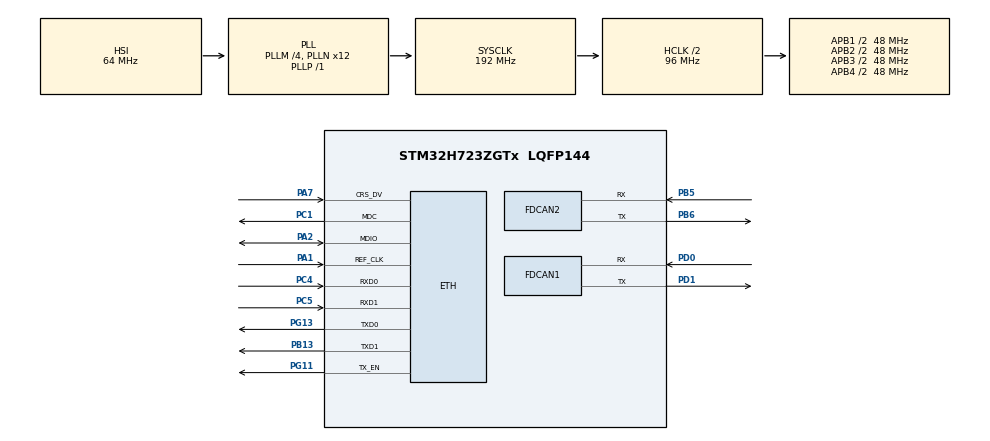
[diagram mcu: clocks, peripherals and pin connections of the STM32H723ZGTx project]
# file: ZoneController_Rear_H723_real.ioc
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CORTEX_M7.default_mode_Activation=1
ETH.MediaInterface=HAL_ETH_RMII_MODE
FDCAN1.AutoRetransmission=ENABLE
FDCAN1.CalculateBaudRateNominal=500000
FDCAN1.CalculateTimeBitNominal=2000
FDCAN1.CalculateTimeQuantumNominal=125.0
FDCAN1.DataPrescaler=10
FDCAN1.DataSyncJumpWidth=2
FDCAN1.DataTimeSeg1=13
FDCAN1.DataTimeSeg2=2
FDCAN1.Mode=FDCAN_MODE_NORMAL
FDCAN1.NominalPrescaler=6
FDCAN1.NominalSyncJumpWidth=2
FDCAN1.NominalTimeSeg1=13
FDCAN1.NominalTimeSeg2=2
FDCAN1.RxFifo0ElmtsNbr=8
FDCAN1.StdFiltersNbr=1
FDCAN1.TxFifoQueueElmtsNbr=8
FDCAN2.AutoRetransmission=ENABLE
FDCAN2.CalculateBaudRateNominal=250000
FDCAN2.CalculateTimeBitNominal=4000
FDCAN2.CalculateTimeQuantumNominal=250.0
FDCAN2.DataTimeSeg1=1
FDCAN2.MessageRAMOffset=128
FDCAN2.Mode=FDCAN_MODE_NORMAL
FDCAN2.NominalPrescaler=12
FDCAN2.NominalSyncJumpWidth=2
FDCAN2.NominalTimeSeg1=13
FDCAN2.NominalTimeSeg2=2
FDCAN2.RxFifo0ElmtsNbr=8
FDCAN2.StdFiltersNbr=2
FDCAN2.TxFifoQueueElmtsNbr=8
LWIP.BSP.number=1
LWIP.GATEWAY_ADDRESS=172.030.001.254
LWIP.IP_ADDRESS=172.030.001.200
LWIP.LWIP_DHCP=0
LWIP.NETMASK_ADDRESS=255.255.255.000
LWIP.Version=v2.2.1_Cube
LWIP0.BSP.STBoard=false
LWIP0.BSP.api=BSP_COMPONENT_DRIVER
LWIP0.BSP.component=LAN8742
LWIP0.BSP.instance=LAN8742
LWIP0.BSP.name=Driver_PHY
LWIP0.BSP.semaphore=S_LAN8742
LWIP0.BSP.solution=LAN8742
Mcu.Family=STM32H7
Mcu.Name=STM32H723ZGTx
Mcu.Package=LQFP144
NVIC.FDCAN1_IT0_IRQn=true\:0\:0\:false\:false\:true\:true\:true\:true
NVIC.FDCAN2_IT0_IRQn=true\:0\:0\:false\:false\:true\:true\:true\:true
NVIC.PriorityGroup=NVIC_PRIORITYGROUP_4
PA1.Mode=RMII
PA1.Signal=ETH_REF_CLK
PA13(JTMS/SWDIO).GPIO_Label=SWDIO
PA13(JTMS/SWDIO).Signal=DEBUG_JTMS-SWDIO
PA14(JTCK/SWCLK).GPIO_Label=SWCLK
PA14(JTCK/SWCLK).Signal=DEBUG_JTCK-SWCLK
PA2.Mode=RMII
PA2.Signal=ETH_MDIO
PA7.Mode=RMII
PA7.Signal=ETH_CRS_DV
PB13.Mode=RMII
PB13.Signal=ETH_TXD1
PB5.Mode=FDCAN_Activate
PB5.Signal=FDCAN2_RX
PB6.Mode=FDCAN_Activate
PB6.Signal=FDCAN2_TX
PC1.Mode=RMII
PC1.Signal=ETH_MDC
PC14-OSC32_IN.Signal=RCC_OSC32_IN
PC15-OSC32_OUT.Signal=RCC_OSC32_OUT
PC4.Mode=RMII
PC4.Signal=ETH_RXD0
PC5.Mode=RMII
PC5.Signal=ETH_RXD1
PD0.Mode=FDCAN_Activate
PD0.Signal=FDCAN1_RX
PD1.Mode=FDCAN_Activate
PD1.Signal=FDCAN1_TX
PD8.GPIO_Label=STLK_VCP_RX
PD8.Signal=USART3_TX
PD9.GPIO_Label=STLK_VCP_TX
PD9.Signal=USART3_RX
PG11.Mode=RMII
PG11.Signal=ETH_TX_EN
PG13.Mode=RMII
PG13.Signal=ETH_TXD0
ProjectManager.HeapSize=0x200
ProjectManager.StackSize=0x400
ProjectManager.TargetToolchain=STM32CubeIDE
RCC.ADCFreq_Value=608000000
RCC.APB1Freq_Value=48000000
RCC.APB2Freq_Value=48000000
RCC.APB3Freq_Value=48000000
RCC.APB4Freq_Value=48000000
RCC.CortexFreq_Value=192000000
RCC.D1PPRE=RCC_APB3_DIV2
RCC.D2PPRE1=RCC_APB1_DIV2
RCC.D2PPRE2=RCC_APB2_DIV2
RCC.D3PPRE=RCC_APB4_DIV2
RCC.DIVM1=4
RCC.DIVM2=1
RCC.DIVN1=12
RCC.DIVN2=19
RCC.DIVP1=1
RCC.DIVQ1=4
RCC.HCLKFreq_Value=96000000
RCC.HPRE=RCC_HCLK_DIV2
RCC.HSE_VALUE=8000000
RCC.PLLFRACN=0
RCC.SYSCLKFreq_VALUE=192000000
RCC.SYSCLKSource=RCC_SYSCLKSOURCE_PLLCLK
RCC.USBCLockSelection=RCC_USBCLKSOURCE_HSI48
RCC.USBFreq_Value=48000000
VP_LWIP_VS_Enabled.Mode=Enabled
VP_MEMORYMAP_VS_MEMORYMAP.Mode=CurAppReg
board=NUCLEO-H723ZG

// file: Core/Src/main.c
/* USER CODE BEGIN Header */
/**
  ******************************************************************************
  * @file           : main.c
  * @brief          : Main program body
  ******************************************************************************
  * @attention
  *
  * Copyright (c) 2026 STMicroelectronics.
  * All rights reserved.
  *
  * This software is licensed under terms that can be found in the LICENSE file
  * in the root directory of this software component.
  * If no LICENSE file comes with this software, it is provided AS-IS.
  *
  ******************************************************************************
  */
/* USER CODE END Header */
#include "main.h"
#include "fdcan.h"
#include "lwip.h"
#include "gpio.h"

/* USER CODE BEGIN Includes */
#include "rear_zone_network.h"
#include "rear_telemetry.h"
#include "perf.h"
#include "diagnostic.h"
#include "eth_phy_recover.h"

/* 계측/진단 마스터 스위치 (Front 와 동일) */
#define REAR_INSTRUMENT_ENABLE   1
/* USER CODE END Includes */

/* USER CODE BEGIN PV */

/* -------------------------------------------------------------------------- */
/* FDCAN1: Classical CAN 500 kbps                                              */
/* H723 -> F446/PCAN: ID 0x101                                                 */
/* F446 echo response expected: ID 0x181                                       */
/* -------------------------------------------------------------------------- */
static FDCAN_TxHeaderTypeDef can500_tx_header;
static FDCAN_RxHeaderTypeDef can500_rx_header;
static uint8_t can500_tx_data[8];
static uint8_t can500_rx_data[8];

volatile uint32_t can500_next_counter = 0;
volatile uint32_t can500_last_sent_counter = 0;
volatile uint32_t can500_last_received_counter = 0;

volatile uint32_t can500_tx_count = 0;
volatile uint32_t can500_rx_count = 0;
/* CAN 수신 두절 판정용 — 버스오프만으로는 상대 노드 소실을 못 잡는다. */
volatile uint32_t can500_last_rx_tick = 0U;
volatile uint32_t can250_last_rx_tick = 0U;
volatile uint32_t can500_rx_ok_count = 0;
volatile uint32_t can500_rx_bad_count = 0;
volatile uint32_t can500_tx_busy_count = 0;
volatile uint32_t can500_tx_error_count = 0;
volatile uint32_t can500_last_error = 0;
volatile uint32_t can500_tx_fifo_free = 0;

volatile FDCAN_ErrorCountersTypeDef can500_error_counters;
volatile FDCAN_ProtocolStatusTypeDef can500_protocol_status;

static uint32_t can500_last_tx_tick = 0;

/* -------------------------------------------------------------------------- */
/* FDCAN2: Classical CAN 250 kbps                                              */
/* H723 -> F407/PCAN: ID 0x201                                                 */
/* F407 echo response expected: ID 0x281                                       */
/* -------------------------------------------------------------------------- */
static FDCAN_TxHeaderTypeDef can250_tx_header;
static FDCAN_RxHeaderTypeDef can250_rx_header;
static uint8_t can250_tx_data[8];
static uint8_t can250_rx_data[8];

volatile uint32_t can250_next_counter = 0;
volatile uint32_t can250_last_sent_counter = 0;
volatile uint32_t can250_last_received_counter = 0;

volatile uint32_t can250_tx_count = 0;
volatile uint32_t can250_rx_count = 0;
volatile uint32_t can250_rx_ok_count = 0;
volatile uint32_t can250_rx_bad_count = 0;
volatile uint32_t can250_tx_busy_count = 0;
volatile uint32_t can250_tx_error_count = 0;
volatile uint32_t can250_last_error = 0;
volatile uint32_t can250_tx_fifo_free = 0;

volatile FDCAN_ErrorCountersTypeDef can250_error_counters;
volatile FDCAN_ProtocolStatusTypeDef can250_protocol_status;

static uint32_t can250_last_tx_tick = 0;

/* -------------------------------------------------------------------------- */
/* F446RE -> H723 센서 값 (FDCAN2 250 kbps, ID 0x301 / 0x311 / 0x312)          */
/* -------------------------------------------------------------------------- */
volatile uint8_t  f446_imu_data[8] = {0};   /* BNO085 rotation vector 원본 */
volatile uint8_t  f446_switch_pressed = 0;  /* 0 = 안눌림, 1 = 눌림        */
volatile uint16_t f446_ultrasonic_mm = 0;   /* 초음파 거리 (mm)            */

volatile uint32_t f446_imu_rx_count = 0;
volatile uint32_t f446_switch_rx_count = 0;
volatile uint32_t f446_ultrasonic_rx_count = 0;

/* 신선도(1초) 판정용 마지막 수신 시각 */
volatile uint32_t f446_imu_last_tick = 0;
volatile uint32_t f446_switch_last_tick = 0;
volatile uint32_t f446_ultrasonic_last_tick = 0;

/* -------------------------------------------------------------------------- */
/* H723 -> F446RE LED command over FDCAN2                                      */
/* Standard ID 0x310                                                          */
/* DATA[0] = left command, DATA[1] = right command, DATA[2] = brake command    */
/* -------------------------------------------------------------------------- */
static FDCAN_TxHeaderTypeDef led_cmd_tx_header;
static uint8_t led_cmd_tx_data[8];

static FDCAN_TxHeaderTypeDef window_cmd_tx_header;
static uint8_t window_cmd_tx_data[8];

volatile uint8_t led_auto_test_enable = 0U;
volatile uint8_t led_test_step = 0U;
volatile uint8_t led_left_command = 0U;
volatile uint8_t led_right_command = 0U;
volatile uint8_t led_brake_command = 0U;
volatile uint8_t window_command = 0U;

volatile uint32_t led_cmd_tx_count = 0U;
volatile uint32_t led_cmd_tx_busy_count = 0U;
volatile uint32_t led_cmd_tx_error_count = 0U;
volatile uint32_t led_cmd_last_error = 0U;

volatile uint32_t window_cmd_tx_count = 0U;
volatile uint32_t window_cmd_tx_busy_count = 0U;
volatile uint32_t window_cmd_tx_error_count = 0U;
volatile uint32_t window_cmd_last_error = 0U;

/* ---------------------------------------------------------------- */
/* 지연 계측 - Front 와 동일 방법론                                   */
/*                                                                    */
/*   perf_rear_cmd_latency     : 지령 변화 -> 하행 CAN 송신           */
/*   perf_rear_reflect_latency : 지령 변화 -> SR 텔레메트리 송신      */
/*                                                                    */
/* Rear 는 RearBody 로부터 출력 상태 피드백이 없어 텔레메트리가       */
/* 지령 자체를 싣는다. 따라서 두 경로를 각각 잰다.                    */
/* ---------------------------------------------------------------- */
volatile perf_stat_t perf_rear_cmd_latency     = { 0U, UINT32_MAX, 0U, 0U, 0U, 0U };
volatile perf_stat_t perf_rear_reflect_latency = { 0U, UINT32_MAX, 0U, 0U, 0U, 0U };

/* 지령 4종(좌/우/브레이크/윈도우)을 한 워드로 묶어 변화를 판정한다. */
static uint32_t rear_cmd_word_prev  = 0xFFFFFFFFU;  /* CAN 송신 기준 */
static uint32_t rear_cmd_word_tele  = 0xFFFFFFFFU;  /* 텔레메트리 기준 */
static uint32_t rear_cmd_cycle      = 0U;
static uint32_t rear_tele_cycle     = 0U;
static uint8_t  rear_cmd_pending    = 0U;
static uint8_t  rear_tele_pending   = 0U;
static uint8_t  rear_cmd_primed     = 0U;
static uint8_t  rear_tele_primed    = 0U;

static uint32_t Rear_CommandWord(void)
{
    return ((uint32_t)(led_left_command  ? 1U : 0U)      ) |
           ((uint32_t)(led_right_command ? 1U : 0U) <<  8) |
           ((uint32_t)(led_brake_command ? 1U : 0U) << 16) |
           ((uint32_t)(window_command    ? 1U : 0U) << 24);
}
static uint32_t led_cmd_last_tx_tick = 0U;
static uint32_t led_test_last_step_tick = 0U;
static uint32_t window_cmd_last_tx_tick = 0U;

/* USER CODE END PV */

void SystemClock_Config(void);
static void MPU_Config(void);
/* USER CODE BEGIN PFP */
static void CAN500_Start(void);
static void CAN500_SendPing(void);

static void CAN250_Start(void);
static void CAN250_SendPing(void);

static void LED_CommandSetStep(uint8_t step);
static void LED_CommandSend(void);
static void LED_CommandUpdate(void);

static void Window_CommandSend(void);
static void Window_CommandUpdate(void);
static void UDP_ApplyPendingCommand(void);

static void CAN_UpdateDiagnostics(void);
static void CAN_BusOffRecover(uint32_t now);
static uint8_t CAN_LinkDead(uint32_t now, uint8_t busoff,
                            uint32_t rx_count, uint32_t last_rx_tick);

static void CAN_WriteU32LE(uint8_t *data, uint32_t value);
static uint32_t CAN_ReadU32LE(const uint8_t *data);
static void EthernetMPU_Config(void);
/* USER CODE END PFP */

/* USER CODE BEGIN 0 */

#define CAN500_TX_PERIOD_MS       500U
#define CAN250_TX_PERIOD_MS       500U
#define CAN_TX_PHASE_OFFSET_MS    250U

#define REAR_LEFT_LAMP_CMD_ID     0x320U
#define REAR_RIGHT_LAMP_CMD_ID    0x321U
#define REAR_BRAKE_LAMP_CMD_ID    0x322U
#define WINDOW_CMD_ID             0x323U

/* F446RE -> H723 센서 신호 (FDCAN2 250 kbps) */
#define CAN_ID_F446_IMU           0x301U   /* DLC 8 : BNO085 rotation vector */
#define CAN_ID_F446_SWITCH        0x311U   /* DLC 1 : 토글스위치 0/1        */
#define CAN_ID_F446_ULTRASONIC    0x312U   /* DLC 2 : 거리 u16 LE (mm)      */

/* ------------------------------------------------------------------ */
/* 진단 (DTC) — Rear 존                                                */
/* confirm_ms 는 "정상 주기 x 3배 이상" 원칙 (COMM_ICD.md §4)          */
/* ------------------------------------------------------------------ */

enum {
    DTC_IDX_ZONE_LINK = 0,   /* Front <-> Rear 링크 상실   */
    DTC_IDX_HOST_LINK,       /* Jetson 명령 링크 상실      */
    DTC_IDX_CAN500_BUSOFF,   /* FDCAN1 버스오프            */
    DTC_IDX_CAN250_BUSOFF,   /* FDCAN2 버스오프            */
    DTC_IDX_ULTRA_LOST,      /* 초음파 0x312 무응답        */
    DTC_IDX_IMU_LOST,        /* IMU 0x301 무응답           */
    DTC_IDX_SWITCH_LOST,     /* 스위치 0x311 무응답        */
    DTC_IDX_COUNT
};

static const diag_def_t rear_dtc_defs[DTC_IDX_COUNT] = {
    /* code                        confirm  heal  warning */
    { DTC_U0100_ZONE_LINK_LOST,      1000U, 2000U, 1U },  /* 램프 제어 불능 */
    { DTC_U0300_HOST_LINK_LOST,      1500U, 3000U, 0U },
    { DTC_U0001_CAN500_BUSOFF,        500U, 3000U, 1U },
    { DTC_U0002_CAN250_BUSOFF,        500U, 3000U, 1U },  /* 램프 버스 */
    { DTC_P0500_ULTRASONIC_LOST,     2000U, 3000U, 1U },  /* 후방 감지 */
    { DTC_P0501_IMU_LOST,            5000U, 5000U, 0U },  /* 비주기 전송 */
    { DTC_P0502_SWITCH_LOST,         2000U, 3000U, 0U },
};

/*
 * 센서 무응답 판정 기준.
 *
 * 초음파 60 ms / 스위치 100 ms 는 주기적이라 1 s 면 충분하지만,
 * IMU(0x301)는 BNO085 리포트가 올 때만 전송되어 간격이 불규칙하다.
 * 1 s 로 두면 정상 동작 중에도 PENDING 이 떴다 사라지길 반복한다.
 * 실측 후 3 s 로 완화한다.
 */
#define REAR_SENSOR_LOST_MS   3000U
#define WINDOW_CMD_TX_PERIOD_MS   100U
/* 지령 변화 시 즉시 전송하되 이 간격보다 촘촘히는 보내지 않는다. */
#define REAR_CMD_MIN_GAP_MS        10U
/* 0 = 순수 주기 전송(개선 전, 비교 측정용) / 1 = 이벤트 트리거 */
#define REAR_EVENT_TRIGGER_ENABLE   1
#define LED_CMD_TX_PERIOD_MS      100U
#define LED_TEST_STEP_PERIOD_MS   3000U
#define LED_TEST_STEP_COUNT       5U

/**
 * @brief Ethernet DMA와 LwIP 메모리가 위치하는 RAM_D2 전체를
 *        Normal, Shareable, Non-cacheable 영역으로 설정한다.
 *
 * RAM_D2:
 *   0x30000000 ~ 0x30007FFF (32 KB)
 *
 * CubeMX가 생성한 MPU Region 0은 그대로 두고 Region 1만 추가한다.
 */
static void EthernetMPU_Config(void)
{
    MPU_Region_InitTypeDef MPU_InitStruct = {0};

    HAL_MPU_Disable();

    MPU_InitStruct.Enable = MPU_REGION_ENABLE;
    MPU_InitStruct.Number = MPU_REGION_NUMBER1;
    MPU_InitStruct.BaseAddress = 0x30000000U;
    MPU_InitStruct.Size = MPU_REGION_SIZE_32KB;
    MPU_InitStruct.SubRegionDisable = 0x00U;
    MPU_InitStruct.TypeExtField = MPU_TEX_LEVEL1;
    MPU_InitStruct.AccessPermission = MPU_REGION_FULL_ACCESS;
    MPU_InitStruct.DisableExec = MPU_INSTRUCTION_ACCESS_DISABLE;
    MPU_InitStruct.IsShareable = MPU_ACCESS_SHAREABLE;
    MPU_InitStruct.IsCacheable = MPU_ACCESS_NOT_CACHEABLE;
    MPU_InitStruct.IsBufferable = MPU_ACCESS_NOT_BUFFERABLE;

    HAL_MPU_ConfigRegion(&MPU_InitStruct);
    HAL_MPU_Enable(MPU_PRIVILEGED_DEFAULT);
}

/**
 * @brief uint32_t 값을 Little Endian 형식으로 4바이트에 저장
 */
static void CAN_WriteU32LE(uint8_t *data, uint32_t value)
{
    data[0] = (uint8_t)(value & 0xFFU);
    data[1] = (uint8_t)((value >> 8) & 0xFFU);
    data[2] = (uint8_t)((value >> 16) & 0xFFU);
    data[3] = (uint8_t)((value >> 24) & 0xFFU);
}

/**
 * @brief Little Endian 형식의 4바이트를 uint32_t로 변환
 */
static uint32_t CAN_ReadU32LE(const uint8_t *data)
{
    return ((uint32_t)data[0]) |
           ((uint32_t)data[1] << 8) |
           ((uint32_t)data[2] << 16) |
           ((uint32_t)data[3] << 24);
}

/**
 * @brief FDCAN1 Classical CAN 500 kbps 시작
 *
 * 송신:
 *   Standard ID 0x101
 *   A5 5A 01 01 + 32-bit counter
 *
 * 수신:
 *   Standard ID 0x181
 *   5A A5 01 02 + same counter
 */
static void CAN500_Start(void)
{
    FDCAN_FilterTypeDef filter = {0};

    filter.IdType = FDCAN_STANDARD_ID;
    filter.FilterIndex = 0;
    filter.FilterType = FDCAN_FILTER_MASK;
    filter.FilterConfig = FDCAN_FILTER_TO_RXFIFO0;
    filter.FilterID1 = 0x181;
    filter.FilterID2 = 0x7FF;

    if (HAL_FDCAN_ConfigFilter(&hfdcan1, &filter) != HAL_OK)
    {
        Error_Handler();
    }

    if (HAL_FDCAN_ConfigGlobalFilter(
            &hfdcan1,
            FDCAN_REJECT,
            FDCAN_REJECT,
            FDCAN_REJECT_REMOTE,
            FDCAN_REJECT_REMOTE) != HAL_OK)
    {
        Error_Handler();
    }

    if (HAL_FDCAN_ActivateNotification(
            &hfdcan1,
            FDCAN_IT_RX_FIFO0_NEW_MESSAGE,
            0U) != HAL_OK)
    {
        Error_Handler();
    }

    if (HAL_FDCAN_Start(&hfdcan1) != HAL_OK)
    {
        Error_Handler();
    }

    can500_tx_header.Identifier = 0x101;
    can500_tx_header.IdType = FDCAN_STANDARD_ID;
    can500_tx_header.TxFrameType = FDCAN_DATA_FRAME;
    can500_tx_header.DataLength = FDCAN_DLC_BYTES_8;
    can500_tx_header.ErrorStateIndicator = FDCAN_ESI_ACTIVE;
    can500_tx_header.BitRateSwitch = FDCAN_BRS_OFF;
    can500_tx_header.FDFormat = FDCAN_CLASSIC_CAN;
    can500_tx_header.TxEventFifoControl = FDCAN_NO_TX_EVENTS;
    can500_tx_header.MessageMarker = 0U;
}

/**
 * @brief FDCAN1 500 kbps Ping 송신
 */
static void CAN500_SendPing(void)
{
    uint32_t counter;

    can500_tx_fifo_free = HAL_FDCAN_GetTxFifoFreeLevel(&hfdcan1);

    if (can500_tx_fifo_free == 0U)
    {
        can500_tx_busy_count++;
        can500_last_error = HAL_FDCAN_GetError(&hfdcan1);
        return;
    }

    counter = can500_next_counter++;

    can500_tx_data[0] = 0xA5;
    can500_tx_data[1] = 0x5A;
    can500_tx_data[2] = 0x01;
    can500_tx_data[3] = 0x01;
    CAN_WriteU32LE(&can500_tx_data[4], counter);

    if (HAL_FDCAN_AddMessageToTxFifoQ(
            &hfdcan1,
            &can500_tx_header,
            can500_tx_data) == HAL_OK)
    {
        can500_last_sent_counter = counter;
        can500_tx_count++;
    }
    else
    {
        can500_tx_error_count++;
        can500_last_error = HAL_FDCAN_GetError(&hfdcan1);
    }
}

/**
 * @brief 프리즈 프레임 캡처 — 최초 DTC 확정 시점의 신호 스냅샷
 *
 * 슬롯 의미(Rear 존)는 COMM_ICD.md 에 정의.
 */
static void Rear_CaptureFreeze(uint16_t *sig)
{
    sig[0] = f446_ultrasonic_mm;
    sig[1] = (uint16_t)((uint16_t)f446_imu_data[0] |
                        ((uint16_t)f446_imu_data[1] << 8));
    sig[2] = (uint16_t)((uint16_t)f446_imu_data[2] |
                        ((uint16_t)f446_imu_data[3] << 8));
    sig[3] = rear_front_brake_adc;
    sig[4] = (uint16_t)((f446_switch_pressed ? 1U : 0U) |
                        (led_left_command  ? 2U : 0U) |
                        (led_right_command ? 4U : 0U) |
                        (led_brake_command ? 8U : 0U) |
                        (window_command    ? 16U : 0U));
    sig[5] = (uint16_t)((rear_front_link_alive     ? 1U : 0U) |
                        (rear_jetson_command_alive ? 2U : 0U) |
                        (can500_protocol_status.BusOff ? 4U : 0U) |
                        (can250_protocol_status.BusOff ? 8U : 0U));
    sig[6] = (uint16_t)(can500_rx_ok_count & 0xFFFFU);
    sig[7] = (uint16_t)(can250_rx_ok_count & 0xFFFFU);
}

/**
 * @brief 센서 무응답 판정
 *
 * last_tick 은 CAN ISR 이 갱신하고 now 는 메인 루프 시작에 캡처된다.
 * ISR 이 now 이후에 들어오면 last_tick > now 가 되어 부호 없는 뺄셈이
 * 언더플로우하고, 약 43억이 되어 오검출이 발생한다.
 * (증상: 정상 수신 중에도 PENDING 이 떴다 사라지길 반복)
 *
 * 부호 있는 비교로 "미래 시각 = 방금 수신" 을 걸러낸다.
 */
static uint8_t Rear_SensorLost(uint32_t last_tick, uint32_t now)
{
    if ((int32_t)(now - last_tick) < 0)
    {
        return 0U;   /* ISR 이 방금 갱신 — 정상 */
    }

    return ((uint32_t)(now - last_tick) > REAR_SENSOR_LOST_MS) ? 1U : 0U;
}

/**
 * @brief 원시 고장 여부를 진단 모듈에 보고 (관측만, 조치는 기존 로직)
 */
static void Rear_ReportDiagnostics(uint32_t now)
{
    Diag_Report(DTC_IDX_ZONE_LINK,
                (rear_front_link_alive == 0U) ? 1U : 0U, now);
    Diag_Report(DTC_IDX_HOST_LINK,
                (rear_jetson_command_alive == 0U) ? 1U : 0U, now);
    Diag_Report(DTC_IDX_CAN500_BUSOFF,
                CAN_LinkDead(now,
                             (uint8_t)(can500_protocol_status.BusOff != 0U),
                             can500_rx_count, can500_last_rx_tick), now);
    Diag_Report(DTC_IDX_CAN250_BUSOFF,
                CAN_LinkDead(now,
                             (uint8_t)(can250_protocol_status.BusOff != 0U),
                             can250_rx_count, can250_last_rx_tick), now);
    Diag_Report(DTC_IDX_ULTRA_LOST,
                Rear_SensorLost(f446_ultrasonic_last_tick, now), now);
    Diag_Report(DTC_IDX_IMU_LOST,
                Rear_SensorLost(f446_imu_last_tick, now), now);
    Diag_Report(DTC_IDX_SWITCH_LOST,
                Rear_SensorLost(f446_switch_last_tick, now), now);

    Diag_Process(now);
}

/**
 * @brief FDCAN2 Classical CAN 250 kbps 시작
 *
 * 송신:
 *   Standard ID 0x201
 *   A5 5A 02 01 + 32-bit counter
 *
 * 수신:
 *   Standard ID 0x281        핑 에코 응답
 *   5A A5 02 02 + same counter
 *
 *   Standard ID 0x301~0x312  F446RE 센서 신호
 *     0x301 IMU(BNO085) / 0x311 토글스위치 / 0x312 초음파 거리(mm)
 */
static void CAN250_Start(void)
{
    FDCAN_FilterTypeDef filter = {0};

    /* 필터0: 핑 에코 응답 0x281 단일 */
    filter.IdType = FDCAN_STANDARD_ID;
    filter.FilterIndex = 0;
    filter.FilterType = FDCAN_FILTER_MASK;
    filter.FilterConfig = FDCAN_FILTER_TO_RXFIFO0;
    filter.FilterID1 = 0x281;
    filter.FilterID2 = 0x7FF;

    if (HAL_FDCAN_ConfigFilter(&hfdcan2, &filter) != HAL_OK)
    {
        Error_Handler();
    }

    /*
     * 필터1: F446RE 센서 신호 0x301~0x312 범위.
     * 글로벌 필터가 REJECT이므로 이 필터가 없으면 IMU/스위치/초음파가
     * RxFIFO에 들어오지 못한다.
     */
    filter.FilterIndex = 1;
    filter.FilterType = FDCAN_FILTER_RANGE;
    filter.FilterConfig = FDCAN_FILTER_TO_RXFIFO0;
    filter.FilterID1 = CAN_ID_F446_IMU;
    filter.FilterID2 = CAN_ID_F446_ULTRASONIC;

    if (HAL_FDCAN_ConfigFilter(&hfdcan2, &filter) != HAL_OK)
    {
        Error_Handler();
    }

    if (HAL_FDCAN_ConfigGlobalFilter(
            &hfdcan2,
            FDCAN_REJECT,
            FDCAN_REJECT,
            FDCAN_REJECT_REMOTE,
            FDCAN_REJECT_REMOTE) != HAL_OK)
    {
        Error_Handler();
    }

    if (HAL_FDCAN_ActivateNotification(
            &hfdcan2,
            FDCAN_IT_RX_FIFO0_NEW_MESSAGE,
            0U) != HAL_OK)
    {
        Error_Handler();
    }

    if (HAL_FDCAN_Start(&hfdcan2) != HAL_OK)
    {
        Error_Handler();
    }

    can250_tx_header.Identifier = 0x201;
    can250_tx_header.IdType = FDCAN_STANDARD_ID;
    can250_tx_header.TxFrameType = FDCAN_DATA_FRAME;
    can250_tx_header.DataLength = FDCAN_DLC_BYTES_8;
    can250_tx_header.ErrorStateIndicator = FDCAN_ESI_ACTIVE;
    can250_tx_header.BitRateSwitch = FDCAN_BRS_OFF;
    can250_tx_header.FDFormat = FDCAN_CLASSIC_CAN;
    can250_tx_header.TxEventFifoControl = FDCAN_NO_TX_EVENTS;
    can250_tx_header.MessageMarker = 0U;

    /* H723 -> F446RE LED 명령 프레임 */
    led_cmd_tx_header.Identifier = REAR_LEFT_LAMP_CMD_ID;
    led_cmd_tx_header.IdType = FDCAN_STANDARD_ID;
    led_cmd_tx_header.TxFrameType = FDCAN_DATA_FRAME;
    led_cmd_tx_header.DataLength = FDCAN_DLC_BYTES_1;
    led_cmd_tx_header.ErrorStateIndicator = FDCAN_ESI_ACTIVE;
    led_cmd_tx_header.BitRateSwitch = FDCAN_BRS_OFF;
    led_cmd_tx_header.FDFormat = FDCAN_CLASSIC_CAN;
    led_cmd_tx_header.TxEventFifoControl = FDCAN_NO_TX_EVENTS;
    led_cmd_tx_header.MessageMarker = 0U;

    /* H723 -> window controller command frame */
    window_cmd_tx_header.Identifier = WINDOW_CMD_ID;
    window_cmd_tx_header.IdType = FDCAN_STANDARD_ID;
    window_cmd_tx_header.TxFrameType = FDCAN_DATA_FRAME;
    window_cmd_tx_header.DataLength = FDCAN_DLC_BYTES_1;
    window_cmd_tx_header.ErrorStateIndicator = FDCAN_ESI_ACTIVE;
    window_cmd_tx_header.BitRateSwitch = FDCAN_BRS_OFF;
    window_cmd_tx_header.FDFormat = FDCAN_CLASSIC_CAN;
    window_cmd_tx_header.TxEventFifoControl = FDCAN_NO_TX_EVENTS;
    window_cmd_tx_header.MessageMarker = 0U;
}

/**
 * @brief FDCAN2 250 kbps Ping 송신
 */
static void CAN250_SendPing(void)
{
    uint32_t counter;

    can250_tx_fifo_free = HAL_FDCAN_GetTxFifoFreeLevel(&hfdcan2);

    if (can250_tx_fifo_free == 0U)
    {
        can250_tx_busy_count++;
        can250_last_error = HAL_FDCAN_GetError(&hfdcan2);
        return;
    }

    counter = can250_next_counter++;

    can250_tx_data[0] = 0xA5;
    can250_tx_data[1] = 0x5A;
    can250_tx_data[2] = 0x02;
    can250_tx_data[3] = 0x01;
    CAN_WriteU32LE(&can250_tx_data[4], counter);

    if (HAL_FDCAN_AddMessageToTxFifoQ(
            &hfdcan2,
            &can250_tx_header,
            can250_tx_data) == HAL_OK)
    {
        can250_last_sent_counter = counter;
        can250_tx_count++;
    }
    else
    {
        can250_tx_error_count++;
        can250_last_error = HAL_FDCAN_GetError(&hfdcan2);
    }
}

/**
 * @brief 자동 LED 시험 단계에 맞춰 명령값 설정
 *
 * step 0: 모두 OFF
 * step 1: 왼쪽 방향지시등 활성화(F446RE에서 500 ms 점멸)
 * step 2: 오른쪽 방향지시등 활성화(F446RE에서 500 ms 점멸)
 * step 3: 브레이크등 ON
 * step 4: 왼쪽 + 오른쪽 + 브레이크 활성화
 */
static void LED_CommandSetStep(uint8_t step)
{
    led_test_step = (uint8_t)(step % LED_TEST_STEP_COUNT);

    switch (led_test_step)
    {
        case 0U:
            led_left_command = 0U;
            led_right_command = 0U;
            led_brake_command = 0U;
            break;

        case 1U:
            led_left_command = 1U;
            led_right_command = 0U;
            led_brake_command = 0U;
            break;

        case 2U:
            led_left_command = 0U;
            led_right_command = 1U;
            led_brake_command = 0U;
            break;

        case 3U:
            led_left_command = 0U;
            led_right_command = 0U;
            led_brake_command = 1U;
            break;

        default: /* step 4 */
            led_left_command = 1U;
            led_right_command = 1U;
            led_brake_command = 1U;
            break;
    }
}

/**
 * @brief LED 명령 0x310 송신
 *
 * byte 0: left  (0/1)
 * byte 1: right (0/1)
 * byte 2: brake (0/1)
 * byte 3: 현재 시험 step (디버깅용, F446RE에서는 무시)
 * byte 4~7: 0
 */
static void RearLamp_SendU8(uint32_t identifier, uint8_t value)
{
    uint8_t data[8] = {0U};

    if (HAL_FDCAN_GetTxFifoFreeLevel(&hfdcan2) == 0U)
    {
        led_cmd_tx_busy_count++;
        led_cmd_last_error = HAL_FDCAN_GetError(&hfdcan2);
        return;
    }

    led_cmd_tx_header.Identifier = identifier;
    led_cmd_tx_header.DataLength = FDCAN_DLC_BYTES_1;
    data[0] = (value != 0U) ? 1U : 0U;

    if (HAL_FDCAN_AddMessageToTxFifoQ(&hfdcan2, &led_cmd_tx_header, data) == HAL_OK)
    {
        led_cmd_tx_count++;
    }
    else
    {
        led_cmd_tx_error_count++;
        led_cmd_last_error = HAL_FDCAN_GetError(&hfdcan2);
    }
}

static void LED_CommandSend(void)
{
    RearLamp_SendU8(REAR_LEFT_LAMP_CMD_ID, led_left_command);
    RearLamp_SendU8(REAR_RIGHT_LAMP_CMD_ID, led_right_command);
    RearLamp_SendU8(REAR_BRAKE_LAMP_CMD_ID, led_brake_command);
}

/**
 * @brief LED 자동 시험 패턴 갱신 및 주기 송신
 *
 * led_auto_test_enable = 1: 3초마다 시험 단계 자동 변경
 * led_auto_test_enable = 0: Live Expressions에서 세 command 값을 수동 변경
 */
static void LED_CommandUpdate(void)
{
    uint32_t now = HAL_GetTick();

    if ((led_auto_test_enable != 0U) &&
        ((now - led_test_last_step_tick) >= LED_TEST_STEP_PERIOD_MS))
    {
        led_test_last_step_tick = now;
        LED_CommandSetStep((uint8_t)(led_test_step + 1U));
    }

    {
        uint32_t w = Rear_CommandWord();
        uint32_t age = (uint32_t)(now - led_cmd_last_tx_tick);
        uint8_t  due;

        if (w != rear_cmd_word_prev)
        {
            if (rear_cmd_primed != 0U)
            {
                if (rear_cmd_pending == 0U)
                {
                    rear_cmd_cycle = PERF_NOW();
                    rear_cmd_pending = 1U;
                }
            }
            rear_cmd_primed = 1U;
            /* 변화 시 즉시 전송하되 최소 간격은 지킨다. */
#if (REAR_EVENT_TRIGGER_ENABLE)
            due = (age >= REAR_CMD_MIN_GAP_MS) ? 1U : 0U;
#else
            due = (age >= LED_CMD_TX_PERIOD_MS) ? 1U : 0U;
#endif
        }
        else
        {
            due = (age >= LED_CMD_TX_PERIOD_MS) ? 1U : 0U;
        }

        if (due != 0U)
        {
            uint32_t changed = w ^ rear_cmd_word_prev;

            led_cmd_last_tx_tick = now;
            rear_cmd_word_prev = w;
            LED_CommandSend();

            /* 윈도우는 값이 실제로 바뀐 경우에만 여기서 앞당겨 보낸다.
               그 외에는 Window_CommandUpdate() 의 주기 하트비트에 맡겨
               두 경로에서 중복 송신되지 않게 한다. */
            if ((changed & 0xFF000000U) != 0U)
            {
                window_cmd_last_tx_tick = now;
                Window_CommandSend();
            }

            if (rear_cmd_pending != 0U)
            {
                Perf_Update(&perf_rear_cmd_latency, PERF_ELAPSED(rear_cmd_cycle));
                rear_cmd_pending = 0U;
            }
        }
    }
}

/**
 * @brief Window command 0x311 transmission.
 *
 * DATA[0] = window command (0=OFF, 1=ON)
 * DATA[1..7] = 0
 */
static void Window_CommandSend(void)
{
    window_cmd_tx_data[0] = (window_command != 0U) ? 1U : 0U;
    window_cmd_tx_data[1] = 0U;
    window_cmd_tx_data[2] = 0U;
    window_cmd_tx_data[3] = 0U;
    window_cmd_tx_data[4] = 0U;
    window_cmd_tx_data[5] = 0U;
    window_cmd_tx_data[6] = 0U;
    window_cmd_tx_data[7] = 0U;

    if (HAL_FDCAN_GetTxFifoFreeLevel(&hfdcan2) == 0U)
    {
        window_cmd_tx_busy_count++;
        window_cmd_last_error = HAL_FDCAN_GetError(&hfdcan2);
        return;
    }

    if (HAL_FDCAN_AddMessageToTxFifoQ(
            &hfdcan2,
            &window_cmd_tx_header,
            window_cmd_tx_data) == HAL_OK)
    {
        window_cmd_tx_count++;
    }
    else
    {
        window_cmd_tx_error_count++;
        window_cmd_last_error = HAL_FDCAN_GetError(&hfdcan2);
    }
}

/**
 * @brief Periodically repeat the current window command.
 */
static void Window_CommandUpdate(void)
{
    uint32_t now = HAL_GetTick();

    /* 윈도우 지령은 LED_CommandUpdate() 에서 지령 워드와 함께 나간다.
       여기서는 값이 안 바뀌어도 살아있음을 알리는 하트비트만 담당한다. */
    if ((now - window_cmd_last_tx_tick) >= WINDOW_CMD_TX_PERIOD_MS)
    {
        window_cmd_last_tx_tick = now;
        Window_CommandSend();
    }
}

/**
 * @brief Apply one pending 4-byte UDP command to the CAN actuator commands.
 */
static void UDP_ApplyPendingCommand(void)
{
    RearZoneNetwork_Process(HAL_GetTick());
}

/**
 * @brief 두 FDCAN 인스턴스의 하드웨어 상태를 디버거용 변수에 갱신
 */
/**
 * @brief 버스오프 자동 복구
 *
 * FDCAN 은 버스오프에 빠지면 하드웨어가 CCCR.INIT 를 세우고 그대로 멈춘다.
 * 소프트웨어가 INIT 를 내려줘야 표준 복구 시퀀스(129 x 11 recessive bit)가
 * 시작된다. 내려주지 않으면 상대 노드가 살아 돌아와도 링크는 영구히 죽는다.
 *
 * 실제로 RearBody 가 리셋 고착에서 복귀했는데도 500k 링크가 살아나지
 * 않는 것을 계측으로 확인하고 추가했다. 진단(U0001)은 정상 동작했으나
 * 복구 경로가 없었다.
 *
 * 재시도 간격을 두는 이유는, 배선이 끊긴 채로 두면 복구 -> 즉시 버스오프를
 * 반복하며 버스를 흔들기 때문이다.
 */
#define CAN_BUSOFF_RECOVER_MS   1000U

volatile uint32_t can500_busoff_recover_count = 0U;
volatile uint32_t can250_busoff_recover_count = 0U;

/*
 * 링크 사망 판정 — 버스오프만 보면 안 된다.
 *
 * CAN 규격상 '에러 패시브 송신기가 ACK 오류를 검출했고 그동안 dominant 비트를
 * 보지 못했다면 TEC 를 올리지 않는다'. 그래서 상대 노드가 그냥 사라지면
 * TEC 가 128(에러 패시브 문턱)에 멈추고 버스오프(TEC>255)에 영원히 도달하지
 * 않는다. 실측으로 확인: TxErrorCnt=128, ErrorPassive=1, BusOff=0 인 채로
 * 링크가 완전히 죽어 있었고 DTC 는 정상으로 보고했다.
 *
 * 그래서 '수신 두절'을 함께 본다. 이더넷 링크(U0100/U0300)가 이미 쓰는
 * 판정 방식과 같다.
 */
#define CAN_RX_TIMEOUT_MS       2000U   /* 핑 주기 500 ms 의 4배 */
#define CAN_STARTUP_GRACE_MS    3000U   /* 기동 직후 유예 */

static uint8_t CAN_LinkDead(uint32_t now, uint8_t busoff,
                            uint32_t rx_count, uint32_t last_rx_tick)
{
    if (busoff != 0U)
    {
        return 1U;
    }
    if (rx_count == 0U)
    {
        /* 부팅 후 한 번도 못 받았다 - 유예시간이 지나면 고장 */
        return (now > CAN_STARTUP_GRACE_MS) ? 1U : 0U;
    }
    if ((int32_t)(now - last_rx_tick) < 0)
    {
        return 0U;   /* ISR 이 방금 갱신 */
    }
    return ((uint32_t)(now - last_rx_tick) > CAN_RX_TIMEOUT_MS) ? 1U : 0U;
}
static void CAN_BusOffRecover(uint32_t now)
{
    static uint32_t can500_last_try = 0U;
    static uint32_t can250_last_try = 0U;

    if (can500_protocol_status.BusOff != 0U)
    {
        if ((uint32_t)(now - can500_last_try) >= CAN_BUSOFF_RECOVER_MS)
        {
            can500_last_try = now;
            CLEAR_BIT(hfdcan1.Instance->CCCR, FDCAN_CCCR_INIT);
            can500_busoff_recover_count++;
        }
    }

    if (can250_protocol_status.BusOff != 0U)
    {
        if ((uint32_t)(now - can250_last_try) >= CAN_BUSOFF_RECOVER_MS)
        {
            can250_last_try = now;
            CLEAR_BIT(hfdcan2.Instance->CCCR, FDCAN_CCCR_INIT);
            can250_busoff_recover_count++;
        }
    }
}
static void CAN_UpdateDiagnostics(void)
{
    can500_tx_fifo_free = HAL_FDCAN_GetTxFifoFreeLevel(&hfdcan1);
    can250_tx_fifo_free = HAL_FDCAN_GetTxFifoFreeLevel(&hfdcan2);

    if (HAL_FDCAN_GetErrorCounters(
            &hfdcan1,
            (FDCAN_ErrorCountersTypeDef *)&can500_error_counters) != HAL_OK)
    {
        can500_last_error = HAL_FDCAN_GetError(&hfdcan1);
    }

    if (HAL_FDCAN_GetProtocolStatus(
            &hfdcan1,
            (FDCAN_ProtocolStatusTypeDef *)&can500_protocol_status) != HAL_OK)
    {
        can500_last_error = HAL_FDCAN_GetError(&hfdcan1);
    }

    if (HAL_FDCAN_GetErrorCounters(
            &hfdcan2,
            (FDCAN_ErrorCountersTypeDef *)&can250_error_counters) != HAL_OK)
    {
        can250_last_error = HAL_FDCAN_GetError(&hfdcan2);
    }

    if (HAL_FDCAN_GetProtocolStatus(
            &hfdcan2,
            (FDCAN_ProtocolStatusTypeDef *)&can250_protocol_status) != HAL_OK)
    {
        can250_last_error = HAL_FDCAN_GetError(&hfdcan2);
    }
}

/* USER CODE END 0 */

int main(void)
{

  /* USER CODE BEGIN 1 */

  /*
   * Cortex-M7 D-Cache 전체 무효화 — 다른 어떤 초기화보다 먼저.
   *
   * 파워온 리셋 직후 캐시 RAM 에는 임의의 노이즈가 남아 있다.
   * Cortex-M7 캐시는 ECC 를 갖고 있어서, "전체 무효화"가 아닌
   * 범위 지정 연산(SCB_InvalidateDCache_by_Addr 등)을 수행하면
   * 노이즈가 든 라인에서 ECC 오류가 발생하고 BusFault/HardFault
   * (IMPRECISERR) 로 전파된다.
   *
   * 이더넷 수신 경로의 HAL_ETH_RxLinkCallback() 이 매 프레임마다
   * SCB_InvalidateDCache_by_Addr() 를 호출하므로 정확히 이 경로에
   * 걸린다. 리셋 버튼으로는 캐시가 정리되어 증상이 안 나타나고,
   * 전원 인가 시에만 재현되는 이유이기도 하다.
   *
   * 참고: ST 커뮤니티 — STM32H743 Using Ethernet Without Cache Issue
   */
  SCB_InvalidateDCache();

  /* USER CODE END 1 */

  /* MPU Configuration--------------------------------------------------------*/
  MPU_Config();

  /* MCU Configuration--------------------------------------------------------*/

  /* Reset of all peripherals, Initializes the Flash interface and the Systick. */
  HAL_Init();

  /* USER CODE BEGIN Init */

  /*
   * D2 도메인 SRAM 클럭 활성화 — 이더넷보다 먼저 해야 한다.
   *
   * 이더넷 DMA 디스크립터(0x30000000), RX 버퍼 풀(0x30000100),
   * lwIP 힙(0x30005000)이 전부 D2 SRAM 에 있는데, 이 클럭은
   * 리셋 후 기본으로 꺼져 있다.
   *
   * CMSIS 의 SystemInit() 에도 활성화 코드가 있지만
   * #if defined(DATA_IN_D2_SRAM) 으로 감싸여 있고 이 프로젝트는
   * 그 매크로를 정의하지 않으므로 실행되지 않는다.
   */
  __HAL_RCC_D2SRAM1_CLK_ENABLE();
  __HAL_RCC_D2SRAM2_CLK_ENABLE();
#if defined(RCC_AHB2ENR_D2SRAM3EN)
  __HAL_RCC_D2SRAM3_CLK_ENABLE();
#endif

  EthernetMPU_Config();
  /* USER CODE END Init */

  /* Configure the system clock */
  SystemClock_Config();

  /* Initialize all configured peripherals */
  MX_GPIO_Init();
  MX_FDCAN1_Init();
  MX_FDCAN2_Init();

  /* USER CODE BEGIN PHY_SETTLE */
  /*
   * PHY 안정화 지연 — 원인 격리를 위해 현재 비활성.
   * 필요 시 아래 주석을 풀어 사용한다.
   */
  /*
   * LAN8742 는 전원 인가 후 MDIO 응답까지 시간이 필요하다.
   * 데이터시트 기준 최소 약 26 ms 이나, ST 커뮤니티 다수 사례에서
   * 500 ms~2 s 가 필요했다. 리셋 버튼은 VDD 가 이미 안정된 상태라
   * 문제가 없지만, 전원 인가 경로에서는 이 지연이 없으면
   * PHY 열거(LAN8742_Init) 가 실패한다.
   */
  HAL_Delay(500U);
  /* USER CODE END PHY_SETTLE */

  MX_LWIP_Init();
  /* USER CODE BEGIN 2 */

  /* Jetson command server (5001) + Front/Rear inter-zone server (5003). */
  if (RearZoneNetwork_Init() != ERR_OK)
  {
      Error_Handler();
  }

  /* Telemetry stream toward the Jetson (/dev/rear_status). */
  if (RearTelemetry_Init() != ERR_OK)
  {
      Error_Handler();
  }

#if (REAR_INSTRUMENT_ENABLE)
  Perf_Init();
  Diag_Init(rear_dtc_defs, DTC_IDX_COUNT, 'R', Rear_CaptureFreeze);
#endif

  CAN500_Start();
  CAN250_Start();
  {
      uint32_t start_tick = HAL_GetTick();

      /*
       * 두 버스 모두 500 ms 주기이지만 250 ms 위상차를 둔다.
       * 동시에 실행해도 문제는 없지만 PCAN에서 구분하기 쉽게 하기 위함이다.
       */
      can500_last_tx_tick = start_tick;
      can250_last_tx_tick = start_tick - CAN_TX_PHASE_OFFSET_MS;

      /* Start all actuators in the OFF state. */
      LED_CommandSetStep(0U);
      window_command = 0U;

      led_test_last_step_tick = start_tick;
      led_cmd_last_tx_tick = start_tick - LED_CMD_TX_PERIOD_MS;
      window_cmd_last_tx_tick = start_tick - WINDOW_CMD_TX_PERIOD_MS;
  }

  /* USER CODE END 2 */

  /* Infinite loop */
  /* USER CODE BEGIN WHILE */
  while (1)
  {
      uint32_t now = HAL_GetTick();

      CAN_UpdateDiagnostics();
      CAN_BusOffRecover(now);

      if ((now - can500_last_tx_tick) >= CAN500_TX_PERIOD_MS)
      {
          can500_last_tx_tick = now;
          CAN500_SendPing();
      }

      if ((now - can250_last_tx_tick) >= CAN250_TX_PERIOD_MS)
      {
          can250_last_tx_tick = now;
          CAN250_SendPing();
      }

#if (REAR_INSTRUMENT_ENABLE)
      {
          static uint32_t loop_prev_cyc = 0U;
          uint32_t cyc_now = PERF_NOW();

          if (loop_prev_cyc != 0U)
          {
              Perf_Update(&perf_loop_period, cyc_now - loop_prev_cyc);
          }
          loop_prev_cyc = cyc_now;
      }
      /* Standalone(NO_SYS=1) LwIP packet, timeout, link processing */
      {
          uint32_t t0 = PERF_NOW();
          MX_LWIP_Process();
          Perf_Update(&perf_lwip_process, PERF_ELAPSED(t0));
      }
#else
      /* Standalone(NO_SYS=1) LwIP packet, timeout, link processing */
      MX_LWIP_Process();
#endif

      /* Apply a newly received Jetson command, if any. */
      UDP_ApplyPendingCommand();

      /* Repeat the latest actuator states over FDCAN2. */
      LED_CommandUpdate();
      Window_CommandUpdate();

      /* Publish the rear zone state table to the Jetson (10 Hz). */
      {
          struct rt_values v;

          v.turn_mode         = rear_applied_turn_mode;
          v.led_left          = led_left_command;
          v.led_right         = led_right_command;
          v.led_brake         = led_brake_command;
          v.window            = window_command;
          v.front_link_alive  = rear_front_link_alive;
          v.jetson_link_alive = rear_jetson_command_alive;
          v.turn_src_jetson   = rear_turn_source_jetson;
          v.brake_src_jetson  = rear_brake_source_jetson;
          v.can500_error      = can500_protocol_status.BusOff ? 1U : 0U;
          v.can250_error      = can250_protocol_status.BusOff ? 1U : 0U;
          v.front_brake_adc   = rear_front_brake_adc;
          v.can500_rx_count   = can500_rx_count;
          v.can250_rx_count   = can250_rx_count;
          v.cmd_rx_count      = rear_jetson_command_rx_count;

          /* F466RE 에서 CAN 으로 올라온 센서 (v2) */
          v.ultrasonic_mm     = f446_ultrasonic_mm;
          v.imu_raw           = (const uint8_t *)f446_imu_data;
          v.switch_pressed    = f446_switch_pressed;

          v.ultra_last_tick   = f446_ultrasonic_last_tick;
          v.imu_last_tick     = f446_imu_last_tick;
          v.switch_last_tick  = f446_switch_last_tick;

          v.imu_rx_count      = f446_imu_rx_count;
          v.ultra_rx_count    = f446_ultrasonic_rx_count;
          v.switch_rx_count   = f446_switch_rx_count;

#if (REAR_INSTRUMENT_ENABLE)
          {
              uint32_t w = Rear_CommandWord();
              uint32_t tx_before;

              if (w != rear_cmd_word_tele)
              {
                  if (rear_tele_primed != 0U)
                  {
                      if (rear_tele_pending == 0U)
                      {
                          rear_tele_cycle = PERF_NOW();
                          rear_tele_pending = 1U;
                      }
                  }
                  rear_tele_primed = 1U;
                  rear_cmd_word_tele = w;
              }

              tx_before = rt_tx_count;
              RearTelemetry_Process(&v);

              /* 실제로 패킷이 나갔을 때만 루프가 닫힌 것으로 본다. */
              if ((rear_tele_pending != 0U) && (rt_tx_count != tx_before))
              {
                  Perf_Update(&perf_rear_reflect_latency,
                              PERF_ELAPSED(rear_tele_cycle));
                  rear_tele_pending = 0U;
              }
          }
#else
          RearTelemetry_Process(&v);
#endif
      }

#if (REAR_INSTRUMENT_ENABLE)
      RearTelemetry_SendPerf();
      Rear_ReportDiagnostics(now);
      RearTelemetry_SendDtc(now);
#endif
    /* USER CODE END WHILE */

  }
}

void SystemClock_Config(void)
{
  RCC_OscInitTypeDef RCC_OscInitStruct = {0};
  RCC_ClkInitTypeDef RCC_ClkInitStruct = {0};

  /** Supply configuration update enable
  */
  HAL_PWREx_ConfigSupply(PWR_LDO_SUPPLY);

  /** Configure the main internal regulator output voltage
  */
  __HAL_PWR_VOLTAGESCALING_CONFIG(PWR_REGULATOR_VOLTAGE_SCALE2);

  while(!__HAL_PWR_GET_FLAG(PWR_FLAG_VOSRDY)) {}

  /** Initializes the RCC Oscillators according to the specified parameters
  * in the RCC_OscInitTypeDef structure.
  */
  RCC_OscInitStruct.OscillatorType = RCC_OSCILLATORTYPE_HSI;
  RCC_OscInitStruct.HSIState = RCC_HSI_DIV1;
  RCC_OscInitStruct.HSICalibrationValue = 64;
  RCC_OscInitStruct.PLL.PLLState = RCC_PLL_ON;
  RCC_OscInitStruct.PLL.PLLSource = RCC_PLLSOURCE_HSI;
  RCC_OscInitStruct.PLL.PLLM = 4;
  RCC_OscInitStruct.PLL.PLLN = 12;
  RCC_OscInitStruct.PLL.PLLP = 1;
  RCC_OscInitStruct.PLL.PLLQ = 4;
  RCC_OscInitStruct.PLL.PLLR = 2;
  RCC_OscInitStruct.PLL.PLLRGE = RCC_PLL1VCIRANGE_3;
  RCC_OscInitStruct.PLL.PLLVCOSEL = RCC_PLL1VCOWIDE;
  RCC_OscInitStruct.PLL.PLLFRACN = 0;
  if (HAL_RCC_OscConfig(&RCC_OscInitStruct) != HAL_OK)
  {
    Error_Handler();
  }

  /** Initializes the CPU, AHB and APB buses clocks
  */
  RCC_ClkInitStruct.ClockType = RCC_CLOCKTYPE_HCLK|RCC_CLOCKTYPE_SYSCLK
                              |RCC_CLOCKTYPE_PCLK1|RCC_CLOCKTYPE_PCLK2
                              |RCC_CLOCKTYPE_D3PCLK1|RCC_CLOCKTYPE_D1PCLK1;
  RCC_ClkInitStruct.SYSCLKSource = RCC_SYSCLKSOURCE_PLLCLK;
  RCC_ClkInitStruct.SYSCLKDivider = RCC_SYSCLK_DIV1;
  RCC_ClkInitStruct.AHBCLKDivider = RCC_HCLK_DIV2;
  RCC_ClkInitStruct.APB3CLKDivider = RCC_APB3_DIV2;
  RCC_ClkInitStruct.APB1CLKDivider = RCC_APB1_DIV2;
  RCC_ClkInitStruct.APB2CLKDivider = RCC_APB2_DIV2;
  RCC_ClkInitStruct.APB4CLKDivider = RCC_APB4_DIV2;

  if (HAL_RCC_ClockConfig(&RCC_ClkInitStruct, FLASH_LATENCY_1) != HAL_OK)
  {
    Error_Handler();
  }
}

/* USER CODE BEGIN 4 */

/**
 * @brief FDCAN RX FIFO0 새 메시지 수신 콜백
 */
void HAL_FDCAN_RxFifo0Callback(
    FDCAN_HandleTypeDef *hfdcan,
    uint32_t RxFifo0ITs)
{
    if ((RxFifo0ITs & FDCAN_IT_RX_FIFO0_NEW_MESSAGE) == 0U)
    {
        return;
    }

    if (hfdcan->Instance == FDCAN1)
    {
        while (HAL_FDCAN_GetRxFifoFillLevel(
                   hfdcan,
                   FDCAN_RX_FIFO0) > 0U)
        {
            if (HAL_FDCAN_GetRxMessage(
                    hfdcan,
                    FDCAN_RX_FIFO0,
                    &can500_rx_header,
                    can500_rx_data) != HAL_OK)
            {
                can500_rx_bad_count++;
                can500_last_error = HAL_FDCAN_GetError(hfdcan);
                return;
            }

            can500_rx_count++;
            can500_last_rx_tick = HAL_GetTick();

            if ((can500_rx_header.IdType == FDCAN_STANDARD_ID) &&
                (can500_rx_header.Identifier == 0x181) &&
                (can500_rx_header.RxFrameType == FDCAN_DATA_FRAME) &&
                (can500_rx_header.DataLength == FDCAN_DLC_BYTES_8) &&
                (can500_rx_data[0] == 0x5A) &&
                (can500_rx_data[1] == 0xA5) &&
                (can500_rx_data[2] == 0x01) &&
                (can500_rx_data[3] == 0x02))
            {
                can500_last_received_counter =
                    CAN_ReadU32LE(&can500_rx_data[4]);

                if (can500_last_received_counter ==
                    can500_last_sent_counter)
                {
                    can500_rx_ok_count++;
                }
                else
                {
                    can500_rx_bad_count++;
                }
            }
            else
            {
                can500_rx_bad_count++;
            }
        }
    }
    else if (hfdcan->Instance == FDCAN2)
    {
        while (HAL_FDCAN_GetRxFifoFillLevel(
                   hfdcan,
                   FDCAN_RX_FIFO0) > 0U)
        {
            if (HAL_FDCAN_GetRxMessage(
                    hfdcan,
                    FDCAN_RX_FIFO0,
                    &can250_rx_header,
                    can250_rx_data) != HAL_OK)
            {
                can250_rx_bad_count++;
                can250_last_error = HAL_FDCAN_GetError(hfdcan);
                return;
            }

            can250_rx_count++;
            can250_last_rx_tick = HAL_GetTick();

            if ((can250_rx_header.IdType == FDCAN_STANDARD_ID) &&
                (can250_rx_header.Identifier == 0x281) &&
                (can250_rx_header.RxFrameType == FDCAN_DATA_FRAME) &&
                (can250_rx_header.DataLength == FDCAN_DLC_BYTES_8) &&
                (can250_rx_data[0] == 0x5A) &&
                (can250_rx_data[1] == 0xA5) &&
                (can250_rx_data[2] == 0x02) &&
                (can250_rx_data[3] == 0x02))
            {
                can250_last_received_counter =
                    CAN_ReadU32LE(&can250_rx_data[4]);

                if (can250_last_received_counter ==
                    can250_last_sent_counter)
                {
                    can250_rx_ok_count++;
                }
                else
                {
                    can250_rx_bad_count++;
                }
            }
            else if (can250_rx_header.IdType == FDCAN_STANDARD_ID)
            {
                switch (can250_rx_header.Identifier)
                {
                    case CAN_ID_F446_IMU:
                        if (can250_rx_header.DataLength == FDCAN_DLC_BYTES_8)
                        {
                            uint8_t i;
                            for (i = 0U; i < 8U; i++)
                            {
                                f446_imu_data[i] = can250_rx_data[i];
                            }
                            f446_imu_last_tick = HAL_GetTick();
                            f446_imu_rx_count++;
                        }
                        break;

                    case CAN_ID_F446_SWITCH:
                        /* F446RE는 DLC 8 고정 송신, data[0]만 유효(나머지 0 패딩) */
                        if (can250_rx_header.DataLength == FDCAN_DLC_BYTES_8)
                        {
                            f446_switch_pressed =
                                (can250_rx_data[0] != 0U) ? 1U : 0U;
                            f446_switch_last_tick = HAL_GetTick();
                            f446_switch_rx_count++;
                        }
                        break;

                    case CAN_ID_F446_ULTRASONIC:
                        /* F446RE는 DLC 8 고정 송신, data[0..1]만 유효 */
                        if (can250_rx_header.DataLength == FDCAN_DLC_BYTES_8)
                        {
                            f446_ultrasonic_mm =
                                (uint16_t)((uint16_t)can250_rx_data[0] |
                                           ((uint16_t)can250_rx_data[1] << 8U));
                            f446_ultrasonic_last_tick = HAL_GetTick();
                            f446_ultrasonic_rx_count++;
                        }
                        break;

                    default:
                        can250_rx_bad_count++;
                        break;
                }
            }
            else
            {
                can250_rx_bad_count++;
            }
        }
    }
}

/**
 * @brief FDCAN 오류 콜백
 */
void HAL_FDCAN_ErrorCallback(FDCAN_HandleTypeDef *hfdcan)
{
    if (hfdcan->Instance == FDCAN1)
    {
        can500_last_error = HAL_FDCAN_GetError(hfdcan);
    }
    else if (hfdcan->Instance == FDCAN2)
    {
        can250_last_error = HAL_FDCAN_GetError(hfdcan);
    }
}

/* USER CODE END 4 */

 /* MPU Configuration */

void MPU_Config(void)
{
  MPU_Region_InitTypeDef MPU_InitStruct = {0};

  /* Disables the MPU */
  HAL_MPU_Disable();

  /** Initializes and configures the Region and the memory to be protected
  */
  MPU_InitStruct.Enable = MPU_REGION_ENABLE;
  MPU_InitStruct.Number = MPU_REGION_NUMBER0;
  MPU_InitStruct.BaseAddress = 0x0;
  MPU_InitStruct.Size = MPU_REGION_SIZE_4GB;
  MPU_InitStruct.SubRegionDisable = 0x87;
  MPU_InitStruct.TypeExtField = MPU_TEX_LEVEL0;
  MPU_InitStruct.AccessPermission = MPU_REGION_NO_ACCESS;
  MPU_InitStruct.DisableExec = MPU_INSTRUCTION_ACCESS_DISABLE;
  MPU_InitStruct.IsShareable = MPU_ACCESS_SHAREABLE;
  MPU_InitStruct.IsCacheable = MPU_ACCESS_NOT_CACHEABLE;
  MPU_InitStruct.IsBufferable = MPU_ACCESS_NOT_BUFFERABLE;

  HAL_MPU_ConfigRegion(&MPU_InitStruct);
  /* Enables the MPU */
  HAL_MPU_Enable(MPU_PRIVILEGED_DEFAULT);

}

void Error_Handler(void)
{
  /* USER CODE BEGIN Error_Handler_Debug */
  /* User can add an error indication here if needed. */
  __disable_irq();
  while (1)
  {
  }
  /* USER CODE END Error_Handler_Debug */
}
